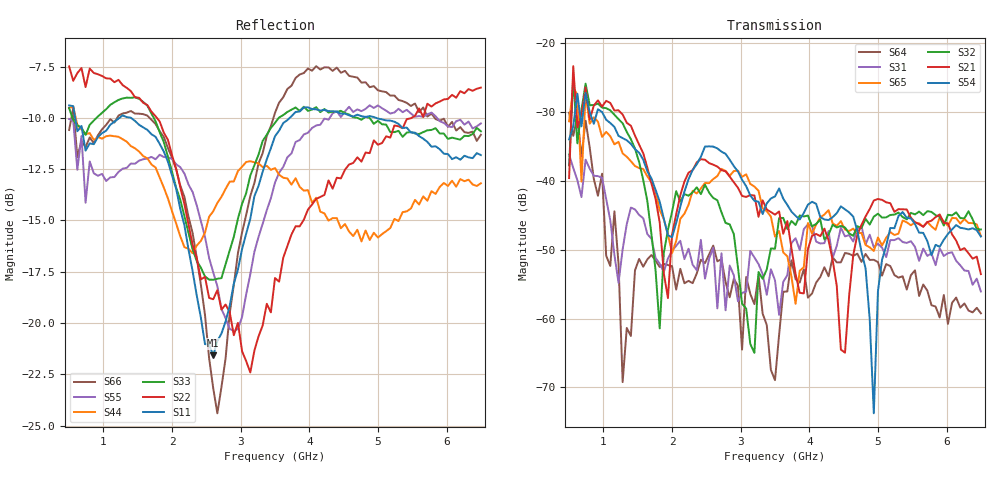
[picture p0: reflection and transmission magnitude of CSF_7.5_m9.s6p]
!Keysight Technologies,M9804A,MY58100912,A.14.10.03
!Date: Thursday, April 27, 2023 10:28:33
!Correction: S11(C  6-Port  )
!S12(C  6-Port  )
!S13(C  6-Port  )
!S14(C  6-Port  )
!S15(C  6-Port  )
!S16(C  6-Port  )
!S21(C  6-Port  )
!S22(C  6-Port  )
!S23(C  6-Port  )
!S24(C  6-Port  )
!S25(C  6-Port  )
!S26(C  6-Port  )
!S31(C  6-Port  )
!S32(C  6-Port  )
!S33(C  6-Port  )
!S34(C  6-Port  )
!S35(C  6-Port  )
!S36(C  6-Port  )
!S41(C  6-Port  )
!S42(C  6-Port  )
!S43(C  6-Port  )
!S44(C  6-Port  )
!S45(C  6-Port  )
!S46(C  6-Port  )
!S51(C  6-Port  )
!S52(C  6-Port  )
!S53(C  6-Port  )
!S54(C  6-Port  )
!S55(C  6-Port  )
!S56(C  6-Port  )
!S61(C  6-Port  )
!S62(C  6-Port  )
!S63(C  6-Port  )
!S64(C  6-Port  )
!S65(C  6-Port  )
!S66(C  6-Port  )
!S6P File: Measurement: :
# Hz S  RI  R 50
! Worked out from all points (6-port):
!   101 points, 500 MHz to 6.5 GHz, reference 50 ohm
!   strongest paths, dB at 500 MHz, 2 GHz, 3.5 GHz, 5 GHz, 6.5 GHz:
!     S54: -34.0, -48.2, -42.3, -56.0, -48.1
!     S21: -39.6, -47.8, -44.9, -42.6, -53.5
!     S32: -37.7, -44.5, -49.9, -44.8, -47.1
!     S65: -31.3, -50.5, -48.1, -48.2, -48.0
!     S31: -36.2, -50.2, -54.5, -49.1, -56.1
!     S64: -30.1, -52.4, -69.0, -51.8, -59.2
!   lowest |S11| = -21.6 dB at 2.6 GHz (marker M1), VSWR 1.18, Z = 42.6 + j2.07 ohm
!   |S11| at or under -10 dB: 588 MHz to 1.235 GHz (646.6 MHz wide, 71 % of centre); 1.402 GHz to 3.716 GHz (2.314 GHz wide, 90.4 % of centre); 4.971 GHz to end of sweep
